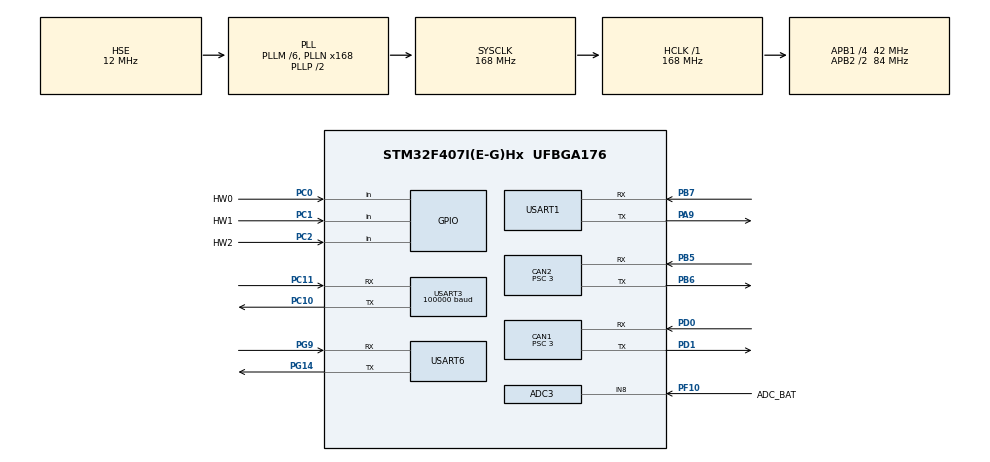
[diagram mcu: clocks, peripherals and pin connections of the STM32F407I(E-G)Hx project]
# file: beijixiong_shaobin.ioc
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ADC1.Channel-0\#ChannelRegularConversion=ADC_CHANNEL_TEMPSENSOR
ADC1.ClockPrescaler=ADC_CLOCK_SYNC_PCLK_DIV6
ADC1.NbrOfConversionFlag=1
ADC1.Rank-0\#ChannelRegularConversion=1
ADC1.SamplingTime-0\#ChannelRegularConversion=ADC_SAMPLETIME_3CYCLES
ADC1.master=1
ADC3.Channel-0\#ChannelRegularConversion=ADC_CHANNEL_8
ADC3.ClockPrescaler=ADC_CLOCK_SYNC_PCLK_DIV6
ADC3.NbrOfConversionFlag=1
ADC3.Rank-0\#ChannelRegularConversion=1
ADC3.SamplingTime-0\#ChannelRegularConversion=ADC_SAMPLETIME_3CYCLES
CAN1.BS1=CAN_BS1_10TQ
CAN1.BS2=CAN_BS2_3TQ
CAN1.CalculateBaudRate=1000000
CAN1.CalculateTimeBit=1000
CAN1.CalculateTimeQuantum=71.42857142857143
CAN1.Prescaler=3
CAN2.BS1=CAN_BS1_10TQ
CAN2.BS2=CAN_BS2_3TQ
CAN2.CalculateBaudRate=1000000
CAN2.CalculateTimeBit=1000
CAN2.CalculateTimeQuantum=71.42857142857143
CAN2.Prescaler=3
Dma.Request0=USART6_RX
Dma.Request1=USART6_TX
Dma.Request2=USART3_RX
Dma.Request3=USART1_RX
Dma.Request4=USART1_TX
Dma.USART1_RX.3.Direction=DMA_PERIPH_TO_MEMORY
Dma.USART1_RX.3.FIFOMode=DMA_FIFOMODE_DISABLE
Dma.USART1_RX.3.Instance=DMA2_Stream5
Dma.USART1_RX.3.MemDataAlignment=DMA_MDATAALIGN_BYTE
Dma.USART1_RX.3.MemInc=DMA_MINC_ENABLE
Dma.USART1_RX.3.Mode=DMA_NORMAL
Dma.USART1_RX.3.PeriphDataAlignment=DMA_PDATAALIGN_BYTE
Dma.USART1_RX.3.PeriphInc=DMA_PINC_DISABLE
Dma.USART1_RX.3.Priority=DMA_PRIORITY_MEDIUM
Dma.USART1_TX.4.Direction=DMA_MEMORY_TO_PERIPH
Dma.USART1_TX.4.FIFOMode=DMA_FIFOMODE_DISABLE
Dma.USART1_TX.4.Instance=DMA2_Stream7
Dma.USART1_TX.4.MemDataAlignment=DMA_MDATAALIGN_BYTE
Dma.USART1_TX.4.MemInc=DMA_MINC_ENABLE
Dma.USART1_TX.4.Mode=DMA_NORMAL
Dma.USART1_TX.4.PeriphDataAlignment=DMA_PDATAALIGN_BYTE
Dma.USART1_TX.4.PeriphInc=DMA_PINC_DISABLE
Dma.USART1_TX.4.Priority=DMA_PRIORITY_MEDIUM
Dma.USART3_RX.2.Direction=DMA_PERIPH_TO_MEMORY
Dma.USART3_RX.2.FIFOMode=DMA_FIFOMODE_DISABLE
Dma.USART3_RX.2.Instance=DMA1_Stream1
Dma.USART3_RX.2.MemDataAlignment=DMA_MDATAALIGN_BYTE
Dma.USART3_RX.2.MemInc=DMA_MINC_ENABLE
Dma.USART3_RX.2.Mode=DMA_NORMAL
Dma.USART3_RX.2.PeriphDataAlignment=DMA_PDATAALIGN_BYTE
Dma.USART3_RX.2.PeriphInc=DMA_PINC_DISABLE
Dma.USART3_RX.2.Priority=DMA_PRIORITY_HIGH
Dma.USART6_RX.0.Direction=DMA_PERIPH_TO_MEMORY
Dma.USART6_RX.0.FIFOMode=DMA_FIFOMODE_DISABLE
Dma.USART6_RX.0.Instance=DMA2_Stream1
Dma.USART6_RX.0.MemDataAlignment=DMA_MDATAALIGN_BYTE
Dma.USART6_RX.0.MemInc=DMA_MINC_ENABLE
Dma.USART6_RX.0.Mode=DMA_NORMAL
Dma.USART6_RX.0.PeriphDataAlignment=DMA_PDATAALIGN_BYTE
Dma.USART6_RX.0.PeriphInc=DMA_PINC_DISABLE
Dma.USART6_RX.0.Priority=DMA_PRIORITY_HIGH
Dma.USART6_TX.1.Direction=DMA_MEMORY_TO_PERIPH
Dma.USART6_TX.1.FIFOMode=DMA_FIFOMODE_DISABLE
Dma.USART6_TX.1.Instance=DMA2_Stream6
Dma.USART6_TX.1.MemDataAlignment=DMA_MDATAALIGN_BYTE
Dma.USART6_TX.1.MemInc=DMA_MINC_ENABLE
Dma.USART6_TX.1.Mode=DMA_NORMAL
Dma.USART6_TX.1.PeriphDataAlignment=DMA_PDATAALIGN_BYTE
Dma.USART6_TX.1.PeriphInc=DMA_PINC_DISABLE
Dma.USART6_TX.1.Priority=DMA_PRIORITY_MEDIUM
FREERTOS.INCLUDE_eTaskGetState=1
FREERTOS.INCLUDE_pcTaskGetTaskName=1
FREERTOS.INCLUDE_uxTaskGetStackHighWaterMark=1
FREERTOS.INCLUDE_uxTaskGetStackHighWaterMark2=1
FREERTOS.INCLUDE_vTaskCleanUpResources=1
FREERTOS.INCLUDE_vTaskDelayUntil=1
FREERTOS.INCLUDE_xQueueGetMutexHolder=1
FREERTOS.INCLUDE_xSemaphoreGetMutexHolder=1
FREERTOS.INCLUDE_xTaskAbortDelay=1
FREERTOS.INCLUDE_xTaskGetCurrentTaskHandle=1
FREERTOS.INCLUDE_xTaskGetHandle=1
FREERTOS.INCLUDE_xTimerPendFunctionCall=1
FREERTOS.Tasks01=defaultTask,0,128,StartDefaultTask,Default,NULL,Dynamic,NULL,NULL
FREERTOS.configTOTAL_HEAP_SIZE=24576
FREERTOS.configUSE_TIMERS=1
Mcu.Family=STM32F4
Mcu.Name=STM32F407I(E-G)Hx
Mcu.Package=UFBGA176
NVIC.CAN1_RX0_IRQn=true\:6\:0\:true\:false\:true\:true\:true\:true\:true
NVIC.CAN2_RX0_IRQn=true\:6\:0\:true\:false\:true\:true\:true\:true\:true
NVIC.DMA1_Stream1_IRQn=true\:5\:0\:false\:false\:true\:true\:false\:true\:true
NVIC.DMA2_Stream1_IRQn=true\:5\:0\:false\:false\:true\:true\:false\:true\:true
NVIC.DMA2_Stream5_IRQn=true\:5\:0\:false\:false\:true\:false\:false\:true\:true
NVIC.DMA2_Stream6_IRQn=true\:5\:0\:false\:false\:true\:true\:false\:true\:true
NVIC.DMA2_Stream7_IRQn=true\:5\:0\:false\:false\:true\:true\:false\:true\:true
NVIC.PriorityGroup=NVIC_PRIORITYGROUP_4
NVIC.USART1_IRQn=true\:5\:0\:false\:false\:true\:true\:true\:true\:true
NVIC.USART3_IRQn=true\:4\:0\:true\:false\:false\:false\:true\:true\:true
NVIC.USART6_IRQn=true\:5\:0\:false\:false\:false\:true\:false\:true\:true
PA13.Mode=Serial_Wire
PA13.Signal=SYS_JTMS-SWDIO
PA14.Mode=Serial_Wire
PA14.Signal=SYS_JTCK-SWCLK
PA9.Mode=Asynchronous
PA9.Signal=USART1_TX
PB5.Mode=CAN_Activate
PB5.Signal=CAN2_RX
PB6.Mode=CAN_Activate
PB6.Signal=CAN2_TX
PB7.Mode=Asynchronous
PB7.Signal=USART1_RX
PC0.GPIO_Label=HW0
PC0.Signal=GPIO_Input
PC1.GPIO_Label=HW1
PC1.Signal=GPIO_Input
PC10.Mode=Asynchronous
PC10.Signal=USART3_TX
PC11.Mode=Asynchronous
PC11.Signal=USART3_RX
PC2.GPIO_Label=HW2
PC2.Signal=GPIO_Input
PD0.Mode=CAN_Activate
PD0.Signal=CAN1_RX
PD1.Mode=CAN_Activate
PD1.Signal=CAN1_TX
PF10.GPIO_Label=ADC_BAT
PF10.Mode=IN8
PF10.Signal=ADC3_IN8
PG14.Mode=Asynchronous
PG14.Signal=USART6_TX
PG9.Mode=Asynchronous
PG9.Signal=USART6_RX
PH0-OSC_IN.Mode=HSE-External-Oscillator
PH0-OSC_IN.Signal=RCC_OSC_IN
PH1-OSC_OUT.Mode=HSE-External-Oscillator
PH1-OSC_OUT.Signal=RCC_OSC_OUT
ProjectManager.HeapSize=0x200
ProjectManager.StackSize=0x400
ProjectManager.TargetToolchain=MDK-ARM V5.32
RCC.48MHZClocksFreq_Value=84000000
RCC.AHBFreq_Value=168000000
RCC.APB1CLKDivider=RCC_HCLK_DIV4
RCC.APB1Freq_Value=42000000
RCC.APB1TimFreq_Value=84000000
RCC.APB2CLKDivider=RCC_HCLK_DIV2
RCC.APB2Freq_Value=84000000
RCC.APB2TimFreq_Value=168000000
RCC.CortexFreq_Value=168000000
RCC.HCLKFreq_Value=168000000
RCC.HSE_VALUE=12000000
RCC.HSI_VALUE=16000000
RCC.LSE_VALUE=32768
RCC.PLLM=6
RCC.PLLN=168
RCC.PLLSourceVirtual=RCC_PLLSOURCE_HSE
RCC.SYSCLKFreq_VALUE=168000000
RCC.SYSCLKSource=RCC_SYSCLKSOURCE_PLLCLK
RCC.VCOOutputFreq_Value=336000000
USART1.VirtualMode=VM_ASYNC
USART3.BaudRate=100000
USART3.Parity=PARITY_EVEN
USART3.VirtualMode=VM_ASYNC
USART6.VirtualMode=VM_ASYNC
VP_ADC1_TempSens_Input.Mode=IN-TempSens
VP_ADC1_Vref_Input.Mode=IN-Vrefint
VP_CRC_VS_CRC.Mode=CRC_Activate
VP_FREERTOS_VS_CMSIS_V1.Mode=CMSIS_V1
board=custom

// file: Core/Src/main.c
/* USER CODE BEGIN Header */
/**
  ******************************************************************************
  * @file           : main.c
  * @brief          : Main program body
  ******************************************************************************
  * @attention
  *
  * Copyright (c) 2025 STMicroelectronics.
  * All rights reserved.
  *
  * This software is licensed under terms that can be found in the LICENSE file
  * in the root directory of this software component.
  * If no LICENSE file comes with this software, it is provided AS-IS.
  *
  ******************************************************************************
  */
/* USER CODE END Header */
#include "main.h"
#include "cmsis_os.h"
#include "adc.h"
#include "can.h"
#include "crc.h"
#include "dma.h"
#include "usart.h"
#include "gpio.h"

/* USER CODE BEGIN Includes */
#include "bsp_can.h"
#include "bsp_delay.h"
#include "bsp_usart.h"
#include "remote_control.h"
#include "VOFA.h"

/* USER CODE END Includes */

void SystemClock_Config(void);
void MX_FREERTOS_Init(void);

int main(void)
{

  /* MCU Configuration--------------------------------------------------------*/

  /* Reset of all peripherals, Initializes the Flash interface and the Systick. */
  HAL_Init();

  /* Configure the system clock */
  SystemClock_Config();

  /* Initialize all configured peripherals */
  MX_GPIO_Init();
  MX_DMA_Init();
  MX_CAN1_Init();
  MX_CAN2_Init();
  MX_USART6_UART_Init();
  MX_USART3_UART_Init();
  MX_USART1_UART_Init();
  MX_CRC_Init();
  MX_ADC1_Init();
  MX_ADC3_Init();
  /* USER CODE BEGIN 2 */
	can_filter_init();
    delay_init();
    remote_control_init();
	HAL_UART_Receive_DMA(&huart1,RxData,sizeof(RxData));//VOFA调试
  /* USER CODE END 2 */

  /* Call init function for freertos objects (in cmsis_os2.c) */
  MX_FREERTOS_Init();

  /* Start scheduler */
  osKernelStart();

  /* We should never get here as control is now taken by the scheduler */

  /* Infinite loop */
  while (1)
  {

  }
}

void SystemClock_Config(void)
{
  RCC_OscInitTypeDef RCC_OscInitStruct = {0};
  RCC_ClkInitTypeDef RCC_ClkInitStruct = {0};

  /** Configure the main internal regulator output voltage
  */
  __HAL_RCC_PWR_CLK_ENABLE();
  __HAL_PWR_VOLTAGESCALING_CONFIG(PWR_REGULATOR_VOLTAGE_SCALE1);

  /** Initializes the RCC Oscillators according to the specified parameters
  * in the RCC_OscInitTypeDef structure.
  */
  RCC_OscInitStruct.OscillatorType = RCC_OSCILLATORTYPE_HSE;
  RCC_OscInitStruct.HSEState = RCC_HSE_ON;
  RCC_OscInitStruct.PLL.PLLState = RCC_PLL_ON;
  RCC_OscInitStruct.PLL.PLLSource = RCC_PLLSOURCE_HSE;
  RCC_OscInitStruct.PLL.PLLM = 6;
  RCC_OscInitStruct.PLL.PLLN = 168;
  RCC_OscInitStruct.PLL.PLLP = RCC_PLLP_DIV2;
  RCC_OscInitStruct.PLL.PLLQ = 4;
  if (HAL_RCC_OscConfig(&RCC_OscInitStruct) != HAL_OK)
  {
    Error_Handler();
  }

  /** Initializes the CPU, AHB and APB buses clocks
  */
  RCC_ClkInitStruct.ClockType = RCC_CLOCKTYPE_HCLK|RCC_CLOCKTYPE_SYSCLK
                              |RCC_CLOCKTYPE_PCLK1|RCC_CLOCKTYPE_PCLK2;
  RCC_ClkInitStruct.SYSCLKSource = RCC_SYSCLKSOURCE_PLLCLK;
  RCC_ClkInitStruct.AHBCLKDivider = RCC_SYSCLK_DIV1;
  RCC_ClkInitStruct.APB1CLKDivider = RCC_HCLK_DIV4;
  RCC_ClkInitStruct.APB2CLKDivider = RCC_HCLK_DIV2;

  if (HAL_RCC_ClockConfig(&RCC_ClkInitStruct, FLASH_LATENCY_5) != HAL_OK)
  {
    Error_Handler();
  }
}

void Error_Handler(void)
{
  __disable_irq();
  while (1)
  {
  }
}

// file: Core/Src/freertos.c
/* USER CODE BEGIN Header */
/**
  ******************************************************************************
  * File Name          : freertos.c
  * Description        : Code for freertos applications
  ******************************************************************************
  * @attention
  *
  * Copyright (c) 2025 STMicroelectronics.
  * All rights reserved.
  *
  * This software is licensed under terms that can be found in the LICENSE file
  * in the root directory of this software component.
  * If no LICENSE file comes with this software, it is provided AS-IS.
  *
  ******************************************************************************
  */
/* USER CODE END Header */

#include "FreeRTOS.h"
#include "task.h"
#include "main.h"
#include "cmsis_os.h"

/* USER CODE BEGIN Includes */
#include "robot_param.h"

#include "chassis_task.h"
#include "detect_task.h"
#include "referee_usart_task.h"
#include "voltage_task.h"
#include "chassis_power_control.h"

/* USER CODE END Includes */

/* USER CODE BEGIN PTD */

osThreadId detect_handle;

#if(CHASSIS_TYPE != CHASSIS_NONE)
osThreadId chassisTaskHandle;
#endif

osThreadId referee_usart_task_handle;

osThreadId battery_voltage_handle;

osThreadId chassisPowerCtrlTaskHandle;

/* USER CODE END PTD */

osThreadId defaultTaskHandle;

/* USER CODE BEGIN FunctionPrototypes */
void ChassisPowerCtrlTask(void const *argument);
/* USER CODE END FunctionPrototypes */

void StartDefaultTask(void const * argument);

void MX_FREERTOS_Init(void); /* (MISRA C 2004 rule 8.1) */

/* GetIdleTaskMemory prototype (linked to static allocation support) */
void vApplicationGetIdleTaskMemory( StaticTask_t **ppxIdleTaskTCBBuffer, StackType_t **ppxIdleTaskStackBuffer, uint32_t *pulIdleTaskStackSize );

/* GetTimerTaskMemory prototype (linked to static allocation support) */
void vApplicationGetTimerTaskMemory( StaticTask_t **ppxTimerTaskTCBBuffer, StackType_t **ppxTimerTaskStackBuffer, uint32_t *pulTimerTaskStackSize );

/* USER CODE BEGIN GET_IDLE_TASK_MEMORY */
static StaticTask_t xIdleTaskTCBBuffer;
static StackType_t xIdleStack[configMINIMAL_STACK_SIZE];

void vApplicationGetIdleTaskMemory( StaticTask_t **ppxIdleTaskTCBBuffer, StackType_t **ppxIdleTaskStackBuffer, uint32_t *pulIdleTaskStackSize )
{
  *ppxIdleTaskTCBBuffer = &xIdleTaskTCBBuffer;
  *ppxIdleTaskStackBuffer = &xIdleStack[0];
  *pulIdleTaskStackSize = configMINIMAL_STACK_SIZE;
  /* place for user code */
}
/* USER CODE END GET_IDLE_TASK_MEMORY */

/* USER CODE BEGIN GET_TIMER_TASK_MEMORY */
static StaticTask_t xTimerTaskTCBBuffer;
static StackType_t xTimerStack[configTIMER_TASK_STACK_DEPTH];

void vApplicationGetTimerTaskMemory( StaticTask_t **ppxTimerTaskTCBBuffer, StackType_t **ppxTimerTaskStackBuffer, uint32_t *pulTimerTaskStackSize )
{
  *ppxTimerTaskTCBBuffer = &xTimerTaskTCBBuffer;
  *ppxTimerTaskStackBuffer = &xTimerStack[0];
  *pulTimerTaskStackSize = configTIMER_TASK_STACK_DEPTH;
  /* place for user code */
}
/* USER CODE END GET_TIMER_TASK_MEMORY */

void MX_FREERTOS_Init(void) {

  /* Create the thread(s) */
  /* definition and creation of defaultTask */
  osThreadDef(defaultTask, StartDefaultTask, osPriorityNormal, 0, 128);
  defaultTaskHandle = osThreadCreate(osThread(defaultTask), NULL);

  /* USER CODE BEGIN RTOS_THREADS */
  /* add threads, ... */
   osThreadDef(DETECT, detect_task, osPriorityNormal, 0, 256);
   detect_handle = osThreadCreate(osThread(DETECT), NULL);

#if (CHASSIS_TYPE != CHASSIS_NONE)
   osThreadDef(ChassisTask, chassis_task, osPriorityAboveNormal, 0, 512);
   chassisTaskHandle = osThreadCreate(osThread(ChassisTask), NULL);
#endif

    osThreadDef(REFEREE, referee_usart_task, osPriorityNormal, 0, 128);
    referee_usart_task_handle = osThreadCreate(osThread(REFEREE), NULL);

    osThreadDef(BATTERY_VOLTAGE, battery_voltage_task, osPriorityNormal, 0, 128);
    battery_voltage_handle = osThreadCreate(osThread(BATTERY_VOLTAGE), NULL);

    osThreadDef(ChassisPowerCtrlTask, ChassisPowerCtrlTask, osPriorityNormal, 0, 256);
    chassisPowerCtrlTaskHandle = osThreadCreate(osThread(ChassisPowerCtrlTask), NULL);
  /* USER CODE END RTOS_THREADS */

}

void StartDefaultTask(void const * argument)
{
  for(;;)
  {
    osDelay(1);
  }
}

/* USER CODE BEGIN Application */
void ChassisPowerCtrlTask(void const *argument)
{
  (void)argument; // 未使用的参数，避免编译警告
  for (;;)
  {
      ChassisPowerCtrlUpdate(); // 调用功率控制更新函数，实时读取裁判系统数据
      osDelay(2); // 延时 2ms（裁判系统下发功率数据大约是10Hz，2ms执行频率绰绰有余）
  }
}
/* USER CODE END Application */
